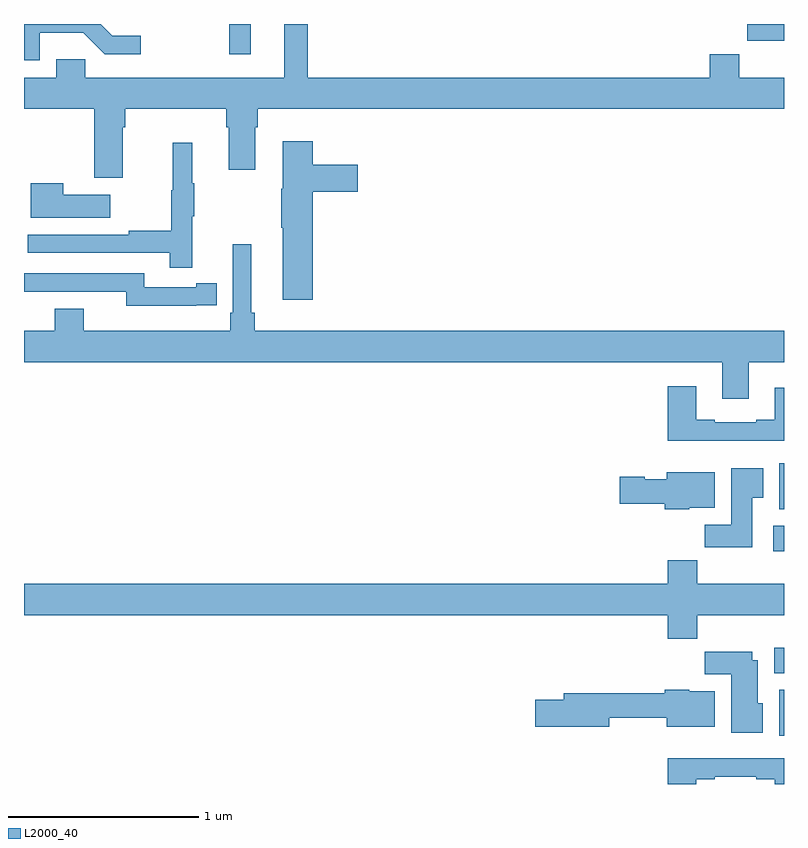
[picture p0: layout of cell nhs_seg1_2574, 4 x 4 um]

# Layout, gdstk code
import gdstk
lib = gdstk.Library(unit=1e-6, precision=1e-09)
def R(c, l, rs):  # rectangles x0, y0, x1, y1
    for r in rs: c.add(gdstk.rectangle(r[:2], r[2:], *l))
def P(c, l, *ps):  # polygons
    for p in ps: c.add(gdstk.Polygon(p, *l))
L2000_40 = (2000, 40)

nhs_seg1_2574 = lib.new_cell('nhs_seg1_2574')
R(nhs_seg1_2574, L2000_40, [(254.975,528.452,255,528.694), (254.948,528.782,255,528.916), (254.943,529.424,255,529.558), (254.975,529.646,255,529.888), (252.079,532.041,252.193,532.199), (254.806,532.11,255,532.199)])
P(nhs_seg1_2574, L2000_40, [(251.082,532.154),(251.311,532.154),(251.424,532.041),(251.614,532.041),(251.614,532.138),(251.465,532.138),(251.404,532.199),(251,532.199),(251,532.008),(251.082,532.008)],
  [(251.521,531.656),(251.534,531.656),(251.534,531.752),(252.065,531.752),(252.065,531.656),(252.077,531.656),(252.077,531.432),(252.217,531.432),(252.217,531.656),(252.23,531.656),(252.23,531.752),(255,531.752),(255,531.916),(254.765,531.916),(254.765,532.04),(254.609,532.04),(254.609,531.916),(252.493,531.916),(252.493,532.198),(252.371,532.198),(252.371,531.916),(251.323,531.916),(251.323,532.014),(251.171,532.014),(251.171,531.916),(251,531.916),(251,531.752),(251.369,531.752),(251.369,531.39),(251.521,531.39)],
  [(252.521,531.317),(252.757,531.317),(252.757,531.459),(252.521,531.459),(252.521,531.583),(252.362,531.583),(252.362,531.333),(252.355,531.333),(252.355,531.127),(252.362,531.127),(252.362,530.748),(252.521,530.748)],
  [(251.885,531.187),(251.896,531.187),(251.896,531.361),(251.885,531.361),(251.885,531.574),(251.782,531.574),(251.782,531.324),(251.775,531.324),(251.775,531.11),(251.551,531.11),(251.551,531.09),(251.019,531.09),(251.019,530.994),(251.767,530.994),(251.767,530.916),(251.885,530.916)],
  [(251.455,531.301),(251.207,531.301),(251.207,531.361),(251.036,531.361),(251.036,531.179),(251.455,531.179)],
  [(251.162,530.701),(251.162,530.584),(251,530.584),(251,530.42),(254.675,530.42),(254.675,530.226),(254.815,530.226),(254.815,530.42),(255,530.42),(255,530.584),(252.215,530.584),(252.215,530.68),(252.196,530.68),(252.196,531.04),(252.099,531.04),(252.099,530.68),(252.086,530.68),(252.086,530.584),(251.314,530.584),(251.314,530.701)],
  [(251.906,530.718),(252.014,530.718),(252.014,530.834),(251.906,530.834),(251.906,530.814),(251.634,530.814),(251.634,530.886),(251,530.886),(251,530.789),(251.078,530.789),(251.078,530.79),(251.538,530.79),(251.538,530.717),(251.906,530.717)],
  [(255,530.284),(254.951,530.284),(254.951,530.116),(254.855,530.116),(254.855,530.103),(254.635,530.103),(254.635,530.116),(254.539,530.116),(254.539,530.293),(254.387,530.293),(254.387,530.006),(255,530.006)],
  [(254.833,529.705),(254.89,529.705),(254.89,529.861),(254.723,529.861),(254.723,529.564),(254.584,529.564),(254.584,529.446),(254.833,529.446)],
  [(254.502,529.652),(254.635,529.652),(254.635,529.84),(254.384,529.84),(254.384,529.804),(254.268,529.804),(254.268,529.817),(254.136,529.817),(254.136,529.675),(254.372,529.675),(254.372,529.646),(254.502,529.646)],
  [(254.543,529.088),(255,529.088),(255,529.252),(254.543,529.252),(254.543,529.376),(254.387,529.376),(254.387,529.252),(251,529.252),(251,529.088),(254.387,529.088),(254.387,528.964),(254.543,528.964)],
  [(254.887,528.624),(254.863,528.624),(254.863,528.85),(254.833,528.85),(254.833,528.895),(254.584,528.895),(254.584,528.776),(254.723,528.776),(254.723,528.47),(254.887,528.47)],
  [(254.08,528.547),(254.384,528.547),(254.384,528.5),(254.635,528.5),(254.635,528.688),(254.502,528.688),(254.502,528.694),(254.372,528.694),(254.372,528.676),(253.841,528.676),(253.841,528.642),(253.692,528.642),(253.692,528.5),(254.08,528.5)],
  [(254.539,528.225),(254.635,528.225),(254.635,528.237),(254.855,528.237),(254.855,528.225),(254.951,528.225),(254.951,528.199),(255,528.199),(255,528.334),(254.387,528.334),(254.387,528.199),(254.539,528.199)])

lib.write_gds('nhs_seg1_2574.gds')
